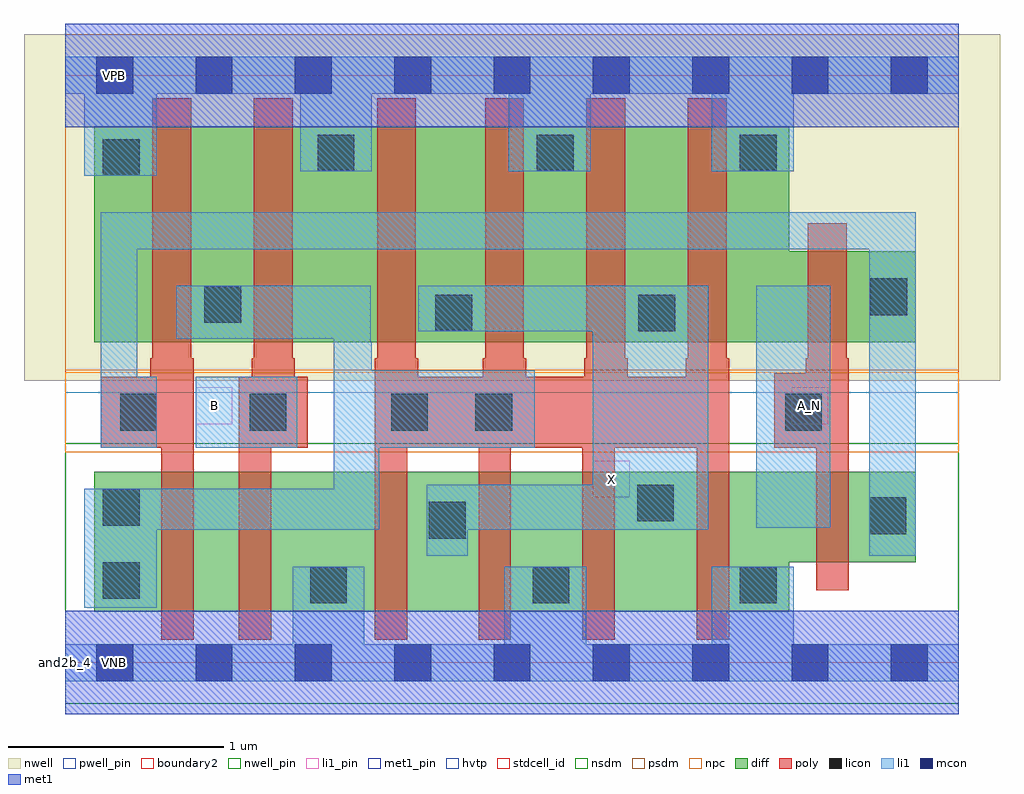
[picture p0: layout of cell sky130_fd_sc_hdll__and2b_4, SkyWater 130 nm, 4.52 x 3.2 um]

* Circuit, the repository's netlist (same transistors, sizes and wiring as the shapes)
* Copyright 2020 The SkyWater PDK Authors
*
* Licensed under the Apache License, Version 2.0 (the "License");
* you may not use this file except in compliance with the License.
* You may obtain a copy of the License at
*
*     https://www.apache.org/licenses/LICENSE-2.0
*
* Unless required by applicable law or agreed to in writing, software
* distributed under the License is distributed on an "AS IS" BASIS,
* WITHOUT WARRANTIES OR CONDITIONS OF ANY KIND, either express or implied.
* See the License for the specific language governing permissions and
* limitations under the License.
*
* SPDX-License-Identifier: Apache-2.0

.SUBCKT sky130_fd_sc_hdll__and2b_4 A_N B VGND VNB VPB VPWR X
*.PININFO A_N:I B:I VGND:I VNB:I VPB:I VPWR:I X:O
MMP0 y A VPWR VPB sky130_fd_pr__pfet_01v8_hvt m=1 w=1.0U l=0.18U mult=1 sa=0.265
+ sb=0.265 sd=0.28 area=0.063 perim=1.14
MMP1 y B VPWR VPB sky130_fd_pr__pfet_01v8_hvt m=1 w=1.0U l=0.18U mult=1 sa=0.265
+ sb=0.265 sd=0.28 area=0.063 perim=1.14
MMIP0 A A_N VPWR VPB sky130_fd_pr__pfet_01v8_hvt m=1 w=0.42U l=0.18U mult=1 sa=0.265
+ sb=0.265 sd=0.28 area=0.063 perim=1.14
MMIP1 X y VPWR VPB sky130_fd_pr__pfet_01v8_hvt m=4 w=1.0U l=0.18U mult=1 sa=0.265
+ sb=0.265 sd=0.28 area=0.063 perim=1.14
MMN0 y A sndA VNB sky130_fd_pr__nfet_01v8 m=1 w=0.65U l=0.15U mult=1 sa=0.265 sb=0.265
+ sd=0.28 area=0.063 perim=1.14
MMN1 sndA B VGND VNB sky130_fd_pr__nfet_01v8 m=1 w=0.65U l=0.15U mult=1 sa=0.265
+ sb=0.265 sd=0.28 area=0.063 perim=1.14
MMIN0 A A_N VGND VNB sky130_fd_pr__nfet_01v8 m=1 w=0.42U l=0.15U mult=1 sa=0.265
+ sb=0.265 sd=0.28 area=0.063 perim=1.14
MMIN1 X y VGND VNB sky130_fd_pr__nfet_01v8 m=4 w=0.65U l=0.15U mult=1 sa=0.265
+ sb=0.265 sd=0.28 area=0.063 perim=1.14
.ENDS sky130_fd_sc_hdll__and2b_4

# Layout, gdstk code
import gdstk
lib = gdstk.Library(unit=1e-6, precision=1e-09)
def R(c, l, rs):  # rectangles x0, y0, x1, y1
    for r in rs: c.add(gdstk.rectangle(r[:2], r[2:], *l))
def A(c, l, x, y, w, h, nx, ny, dx, dy):  # array of equal rectangles
    R(c, l, [(x+i*dx, y+j*dy, x+i*dx+w, y+j*dy+h) for i in range(nx) for j in range(ny)])
def P(c, l, *ps):  # polygons
    for p in ps: c.add(gdstk.Polygon(p, *l))
nwell_pin = (64, 16)
nwell = (64, 20)
diff = (65, 20)
poly = (66, 20)
licon = (66, 44)
li1_pin = (67, 16)
li1 = (67, 20)
mcon = (67, 44)
met1_pin = (68, 16)
met1 = (68, 20)
hvtp = (78, 44)
stdcell_id = (81, 4)
nsdm = (93, 44)
psdm = (94, 20)
npc = (95, 20)
pwell_pin = (122, 16)
boundary2 = (236, 0)

sky130_fd_sc_hdll__and2b = lib.new_cell('sky130_fd_sc_hdll__and2b_4')
R(sky130_fd_sc_hdll__and2b, nwell_pin, [(0.145,2.635,0.315,2.805)])
R(sky130_fd_sc_hdll__and2b, nwell, [(-0.19,1.305,4.33,2.91)])
P(sky130_fd_sc_hdll__and2b, diff, [(3.94,0.885),(0.135,0.885),(0.135,0.235),(3.355,0.235),(3.355,0.465),(3.94,0.465)],
  [(3.94,1.905),(3.355,1.905),(3.355,2.485),(0.135,2.485),(0.135,1.485),(3.94,1.485)])
P(sky130_fd_sc_hdll__and2b, poly, [(0.595,1.41),(0.585,1.41),(0.585,2.615),(0.405,2.615),(0.405,1.41),(0.395,1.41),(0.395,1.325),(0.165,1.325),(0.165,0.995),(0.445,0.995),(0.445,0.105),(0.595,0.105)],
  [(1.125,1.325),(1.065,1.325),(1.065,1.41),(1.055,1.41),(1.055,2.615),(0.875,2.615),(0.875,1.41),(0.865,1.41),(0.865,1.325),(0.805,1.325),(0.805,0.105),(0.955,0.105),(0.955,0.995),(1.125,0.995)],
  [(3.075,1.41),(3.065,1.41),(3.065,2.615),(2.885,2.615),(2.885,1.41),(2.875,1.41),(2.875,1.325),(2.605,1.325),(2.605,1.41),(2.595,1.41),(2.595,2.615),(2.415,2.615),(2.415,1.41),(2.405,1.41),(2.405,1.325),(2.135,1.325),(2.135,1.41),(2.125,1.41),(2.125,2.615),(1.945,2.615),(1.945,1.41),(1.935,1.41),(1.935,1.325),(1.635,1.325),(1.635,1.41),(1.625,1.41),(1.625,2.615),(1.445,2.615),(1.445,1.41),(1.435,1.41),(1.435,0.105),(1.585,0.105),(1.585,0.995),(1.915,0.995),(1.915,0.105),(2.065,0.105),(2.065,0.995),(2.395,0.995),(2.395,0.105),(2.545,0.105),(2.545,0.995),(2.925,0.995),(2.925,0.105),(3.075,0.105)],
  [(3.63,1.41),(3.62,1.41),(3.62,2.035),(3.44,2.035),(3.44,1.41),(3.43,1.41),(3.43,1.34),(3.285,1.34),(3.285,0.995),(3.48,0.995),(3.48,0.335),(3.63,0.335)])
R(sky130_fd_sc_hdll__and2b, licon, [(1.135,0.275,1.305,0.445), (2.165,0.275,2.335,0.445), (3.125,0.275,3.295,0.445), (0.175,0.295,0.345,0.465), (1.685,0.575,1.855,0.745), (3.725,0.595,3.895,0.765), (0.175,0.635,0.345,0.805), (2.65,0.655,2.82,0.825), (0.255,1.075,0.425,1.245), (0.855,1.075,1.025,1.245), (1.51,1.075,1.68,1.245), (1.9,1.075,2.07,1.245), (3.335,1.075,3.505,1.245), (1.715,1.535,1.885,1.705), (2.655,1.535,2.825,1.705), (0.645,1.575,0.815,1.745), (3.73,1.61,3.9,1.78), (0.175,2.255,0.345,2.425), (1.17,2.275,1.34,2.445), (2.185,2.275,2.355,2.445), (3.125,2.275,3.295,2.445)])
R(sky130_fd_sc_hdll__and2b, li1_pin, [(2.445,0.765,2.615,0.935), (0.605,1.105,0.775,1.275), (3.365,1.105,3.535,1.275)])
R(sky130_fd_sc_hdll__and2b, li1, [(3.2,0.625,3.545,1.745), (0.605,0.995,1.075,1.325)])
P(sky130_fd_sc_hdll__and2b, li1, [(4.14,2.805),(0,2.805),(0,2.635),(0.09,2.635),(0.09,2.255),(0.425,2.255),(0.425,2.635),(1.09,2.635),(1.09,2.275),(1.42,2.275),(1.42,2.635),(2.055,2.635),(2.055,2.275),(2.435,2.275),(2.435,2.635),(2.995,2.635),(2.995,2.275),(3.375,2.275),(3.375,2.635),(4.14,2.635)],
  [(3.94,2.085),(0.165,2.085),(0.165,0.995),(0.425,0.995),(0.425,1.325),(0.335,1.325),(0.335,1.915),(3.725,1.915),(3.725,0.495),(3.94,0.495)],
  [(2.98,1.745),(1.635,1.745),(1.635,1.535),(2.445,1.535),(2.445,0.825),(1.675,0.825),(1.675,0.495),(1.865,0.495),(1.865,0.615),(2.98,0.615)],
  [(4.14,0.085),(3.375,0.085),(3.375,0.445),(2.995,0.445),(2.995,0.085),(2.415,0.085),(2.415,0.445),(2.035,0.445),(2.035,0.085),(1.385,0.085),(1.385,0.445),(1.055,0.445),(1.055,0.085),(0,0.085),(0,-0.085),(4.14,-0.085)],
  [(2.175,1.355),(1.42,1.355),(1.42,1.485),(1.415,1.485),(1.415,1.745),(0.515,1.745),(0.515,1.5),(1.245,1.5),(1.245,0.805),(0.09,0.805),(0.09,0.255),(0.425,0.255),(0.425,0.615),(1.455,0.615),(1.455,0.995),(2.175,0.995)])
A(sky130_fd_sc_hdll__and2b, mcon, 0.145, -0.085, 0.17, 0.17, 9, 2, 0.46, 2.72)
R(sky130_fd_sc_hdll__and2b, met1_pin, [(0.145,-0.085,0.315,0.085), (0.145,2.635,0.315,2.805)])
R(sky130_fd_sc_hdll__and2b, met1, [(0,-0.24,4.14,0.24), (0,2.48,4.14,2.96)])
R(sky130_fd_sc_hdll__and2b, hvtp, [(0,1.25,4.14,2.72)])
R(sky130_fd_sc_hdll__and2b, stdcell_id, [(0,0,4.14,2.72)])
R(sky130_fd_sc_hdll__and2b, nsdm, [(0,-0.19,4.14,1.015)])
R(sky130_fd_sc_hdll__and2b, psdm, [(0,1.355,4.14,2.91)])
R(sky130_fd_sc_hdll__and2b, npc, [(0,0.975,4.14,1.345)])
R(sky130_fd_sc_hdll__and2b, pwell_pin, [(0.145,-0.085,0.315,0.085)])
R(sky130_fd_sc_hdll__and2b, boundary2, [(0,0,4.14,2.72)])
sky130_fd_sc_hdll__and2b.add(gdstk.Label('B', (0.69,1.19), layer=67, texttype=5))
sky130_fd_sc_hdll__and2b.add(gdstk.Label('X', (2.53,0.85), layer=67, texttype=5))
sky130_fd_sc_hdll__and2b.add(gdstk.Label('A_N', (3.45,1.19), layer=67, texttype=5))
sky130_fd_sc_hdll__and2b.add(gdstk.Label('VNB', (0.23,0), layer=64, texttype=59))
sky130_fd_sc_hdll__and2b.add(gdstk.Label('VPB', (0.23,2.72), layer=64, texttype=5))
sky130_fd_sc_hdll__and2b.add(gdstk.Label('VGND', (0.23,0), layer=68, texttype=5))
sky130_fd_sc_hdll__and2b.add(gdstk.Label('VPWR', (0.23,2.72), layer=68, texttype=5))
sky130_fd_sc_hdll__and2b.add(gdstk.Label('and2b_4', (0,0), layer=83, texttype=44))

lib.write_gds('sky130_fd_sc_hdll__and2b_4.gds')
